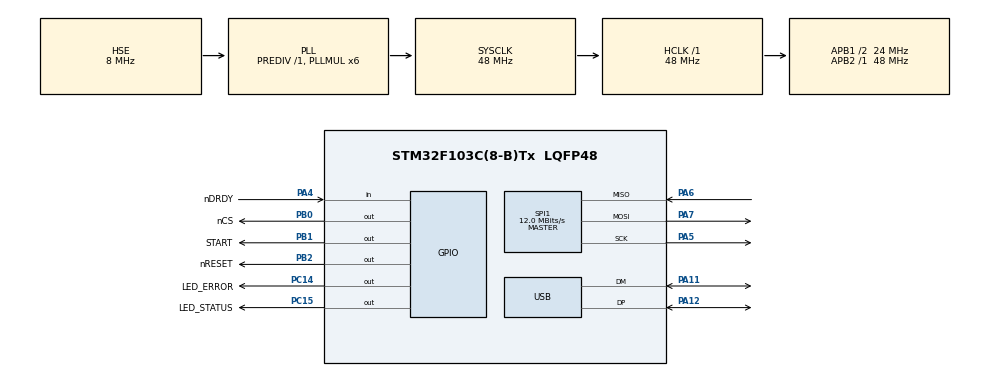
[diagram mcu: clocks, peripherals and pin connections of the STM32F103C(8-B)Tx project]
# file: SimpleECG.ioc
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Mcu.Family=STM32F1
Mcu.Name=STM32F103C(8-B)Tx
Mcu.Package=LQFP48
NVIC.PriorityGroup=NVIC_PRIORITYGROUP_4
NVIC.USB_LP_CAN1_RX0_IRQn=true\:0\:0\:false\:false\:true\:false\:true
PA11.Mode=Device
PA11.Signal=USB_DM
PA12.Mode=Device
PA12.Signal=USB_DP
PA13.Mode=Serial_Wire
PA13.Signal=SYS_JTMS-SWDIO
PA14.Mode=Serial_Wire
PA14.Signal=SYS_JTCK-SWCLK
PA4.GPIO_Label=nDRDY
PA4.Signal=GPIO_Input
PA5.Mode=Full_Duplex_Master
PA5.Signal=SPI1_SCK
PA6.Mode=Full_Duplex_Master
PA6.Signal=SPI1_MISO
PA7.Mode=Full_Duplex_Master
PA7.Signal=SPI1_MOSI
PB0.GPIO_Label=nCS
PB0.Signal=GPIO_Output
PB1.GPIO_Label=START
PB1.Signal=GPIO_Output
PB2.GPIO_Label=nRESET
PB2.Signal=GPIO_Output
PC14-OSC32_IN.GPIO_Label=LED_ERROR
PC14-OSC32_IN.Signal=GPIO_Output
PC15-OSC32_OUT.GPIO_Label=LED_STATUS
PC15-OSC32_OUT.Signal=GPIO_Output
PD0-OSC_IN.Mode=HSE-External-Oscillator
PD0-OSC_IN.Signal=RCC_OSC_IN
PD1-OSC_OUT.Mode=HSE-External-Oscillator
PD1-OSC_OUT.Signal=RCC_OSC_OUT
ProjectManager.HeapSize=0x200
ProjectManager.StackSize=0x400
ProjectManager.TargetToolchain=STM32CubeIDE
RCC.AHBFreq_Value=48000000
RCC.APB1CLKDivider=RCC_HCLK_DIV2
RCC.APB1Freq_Value=24000000
RCC.APB1TimFreq_Value=48000000
RCC.APB2Freq_Value=48000000
RCC.APB2TimFreq_Value=48000000
RCC.HCLKFreq_Value=48000000
RCC.PLLMUL=RCC_PLL_MUL6
RCC.SYSCLKFreq_VALUE=48000000
RCC.SYSCLKSource=RCC_SYSCLKSOURCE_PLLCLK
RCC.USBFreq_Value=48000000
SPI1.BaudRatePrescaler=SPI_BAUDRATEPRESCALER_4
SPI1.CLKPhase=SPI_PHASE_2EDGE
SPI1.CalculateBaudRate=12.0 MBits/s
SPI1.Direction=SPI_DIRECTION_2LINES
SPI1.Mode=SPI_MODE_MASTER
SPI1.VirtualType=VM_MASTER
USB_DEVICE.CLASS_NAME_FS=CDC
USB_DEVICE.VirtualMode=Cdc
USB_DEVICE.VirtualModeFS=Cdc_FS
VP_USB_DEVICE_VS_USB_DEVICE_CDC_FS.Mode=CDC_FS
board=custom

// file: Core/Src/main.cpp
/* USER CODE BEGIN Header */
/**
  ******************************************************************************
  * @file           : main.c
  * @brief          : Main program body
  ******************************************************************************
  * @attention
  *
  * Copyright (c) 2023 STMicroelectronics.
  * All rights reserved.
  *
  * This software is licensed under terms that can be found in the LICENSE file
  * in the root directory of this software component.
  * If no LICENSE file comes with this software, it is provided AS-IS.
  *
  ******************************************************************************
  */
/* USER CODE END Header */
#include "main.h"
#include "usb_device.h"

/* USER CODE BEGIN Includes */

#include "ADS1298.hpp"
#include "usbd_cdc_if.h"
#include <string>

/* USER CODE END Includes */

SPI_HandleTypeDef hspi1;

void SystemClock_Config(void);
static void MX_GPIO_Init(void);
static void MX_SPI1_Init(void);

/* USER CODE BEGIN 0 */

ADS1298 ads1298(&hspi1);

/* USER CODE END 0 */

int main(void)
{

  /* MCU Configuration--------------------------------------------------------*/

  /* Reset of all peripherals, Initializes the Flash interface and the Systick. */
  HAL_Init();

  /* Configure the system clock */
  SystemClock_Config();

  /* Initialize all configured peripherals */
  MX_GPIO_Init();
  MX_USB_DEVICE_Init();
  MX_SPI1_Init();
  /* USER CODE BEGIN 2 */

	HAL_GPIO_WritePin(nRESET_GPIO_Port, nRESET_Pin, GPIO_PIN_SET);

	ads1298.setup();

  /* USER CODE END 2 */

  /* Infinite loop */
  while (1)
  {

    /* USER CODE BEGIN 3 */
//	  uint8_t id = ads1298.readRegister(REG_ADDR_ID);

	  if (HAL_GPIO_ReadPin(nDRDY_GPIO_Port, nDRDY_Pin) == GPIO_PIN_RESET) {
		  int32_t channels[10];
		  channels[8] = 0; // TODO: milliseconds since startup
		  channels[9] = 0xFFFFFFFF; // separator
		  HAL_StatusTypeDef status = ads1298.getChannelData(channels);

		  if (status == HAL_OK) {
			  //const char *buffer = (std::to_string(channels[0]) + "," + std::to_string(channels[1]) + "," + std::to_string(channels[2]) + "," + std::to_string(channels[3]) + "," + std::to_string(channels[4]) + "," + std::to_string(channels[5]) + "," + std::to_string(channels[6]) + "," + std::to_string(channels[7])  + "\r\n").c_str();
			  CDC_Transmit_FS((uint8_t*)channels, 40);
		  } else {
			  const char *buffer = ("HAL status: " + std::to_string(status) + "\r\n").c_str();
			  CDC_Transmit_FS((uint8_t*)buffer, strlen(buffer));
		  }
	  }

//	  const char *buffer = ("The value of id is " + std::to_string(id) + "\r\n").c_str();
//	  CDC_Transmit_FS((uint8_t*)buffer, strlen(buffer));
//	  HAL_Delay(500);

	  //HAL_GPIO_TogglePin(LED_STATUS_GPIO_Port, LED_STATUS_Pin);
//	  HAL_Delay(500);
  }
  /* USER CODE END 3 */
}

void SystemClock_Config(void)
{
  RCC_OscInitTypeDef RCC_OscInitStruct = {0};
  RCC_ClkInitTypeDef RCC_ClkInitStruct = {0};
  RCC_PeriphCLKInitTypeDef PeriphClkInit = {0};

  /** Initializes the RCC Oscillators according to the specified parameters
  * in the RCC_OscInitTypeDef structure.
  */
  RCC_OscInitStruct.OscillatorType = RCC_OSCILLATORTYPE_HSE;
  RCC_OscInitStruct.HSEState = RCC_HSE_ON;
  RCC_OscInitStruct.HSEPredivValue = RCC_HSE_PREDIV_DIV1;
  RCC_OscInitStruct.HSIState = RCC_HSI_ON;
  RCC_OscInitStruct.PLL.PLLState = RCC_PLL_ON;
  RCC_OscInitStruct.PLL.PLLSource = RCC_PLLSOURCE_HSE;
  RCC_OscInitStruct.PLL.PLLMUL = RCC_PLL_MUL6;
  if (HAL_RCC_OscConfig(&RCC_OscInitStruct) != HAL_OK)
  {
    Error_Handler();
  }
  /** Initializes the CPU, AHB and APB buses clocks
  */
  RCC_ClkInitStruct.ClockType = RCC_CLOCKTYPE_HCLK|RCC_CLOCKTYPE_SYSCLK
                              |RCC_CLOCKTYPE_PCLK1|RCC_CLOCKTYPE_PCLK2;
  RCC_ClkInitStruct.SYSCLKSource = RCC_SYSCLKSOURCE_PLLCLK;
  RCC_ClkInitStruct.AHBCLKDivider = RCC_SYSCLK_DIV1;
  RCC_ClkInitStruct.APB1CLKDivider = RCC_HCLK_DIV2;
  RCC_ClkInitStruct.APB2CLKDivider = RCC_HCLK_DIV1;

  if (HAL_RCC_ClockConfig(&RCC_ClkInitStruct, FLASH_LATENCY_1) != HAL_OK)
  {
    Error_Handler();
  }
  PeriphClkInit.PeriphClockSelection = RCC_PERIPHCLK_USB;
  PeriphClkInit.UsbClockSelection = RCC_USBCLKSOURCE_PLL;
  if (HAL_RCCEx_PeriphCLKConfig(&PeriphClkInit) != HAL_OK)
  {
    Error_Handler();
  }
}

static void MX_SPI1_Init(void)
{

  /* SPI1 parameter configuration*/
  hspi1.Instance = SPI1;
  hspi1.Init.Mode = SPI_MODE_MASTER;
  hspi1.Init.Direction = SPI_DIRECTION_2LINES;
  hspi1.Init.DataSize = SPI_DATASIZE_8BIT;
  hspi1.Init.CLKPolarity = SPI_POLARITY_LOW;
  hspi1.Init.CLKPhase = SPI_PHASE_2EDGE;
  hspi1.Init.NSS = SPI_NSS_SOFT;
  hspi1.Init.BaudRatePrescaler = SPI_BAUDRATEPRESCALER_4;
  hspi1.Init.FirstBit = SPI_FIRSTBIT_MSB;
  hspi1.Init.TIMode = SPI_TIMODE_DISABLE;
  hspi1.Init.CRCCalculation = SPI_CRCCALCULATION_DISABLE;
  hspi1.Init.CRCPolynomial = 10;
  if (HAL_SPI_Init(&hspi1) != HAL_OK)
  {
    Error_Handler();
  }

}

static void MX_GPIO_Init(void)
{
  GPIO_InitTypeDef GPIO_InitStruct = {0};

  /* GPIO Ports Clock Enable */
  __HAL_RCC_GPIOC_CLK_ENABLE();
  __HAL_RCC_GPIOD_CLK_ENABLE();
  __HAL_RCC_GPIOA_CLK_ENABLE();
  __HAL_RCC_GPIOB_CLK_ENABLE();

  /*Configure GPIO pin Output Level */
  HAL_GPIO_WritePin(GPIOC, LED_ERROR_Pin|LED_STATUS_Pin, GPIO_PIN_RESET);

  /*Configure GPIO pin Output Level */
  HAL_GPIO_WritePin(GPIOB, nCS_Pin|START_Pin|nRESET_Pin, GPIO_PIN_RESET);

  /*Configure GPIO pins : LED_ERROR_Pin LED_STATUS_Pin */
  GPIO_InitStruct.Pin = LED_ERROR_Pin|LED_STATUS_Pin;
  GPIO_InitStruct.Mode = GPIO_MODE_OUTPUT_PP;
  GPIO_InitStruct.Pull = GPIO_NOPULL;
  GPIO_InitStruct.Speed = GPIO_SPEED_FREQ_LOW;
  HAL_GPIO_Init(GPIOC, &GPIO_InitStruct);

  /*Configure GPIO pin : nDRDY_Pin */
  GPIO_InitStruct.Pin = nDRDY_Pin;
  GPIO_InitStruct.Mode = GPIO_MODE_INPUT;
  GPIO_InitStruct.Pull = GPIO_NOPULL;
  HAL_GPIO_Init(nDRDY_GPIO_Port, &GPIO_InitStruct);

  /*Configure GPIO pins : nCS_Pin START_Pin nRESET_Pin */
  GPIO_InitStruct.Pin = nCS_Pin|START_Pin|nRESET_Pin;
  GPIO_InitStruct.Mode = GPIO_MODE_OUTPUT_PP;
  GPIO_InitStruct.Pull = GPIO_NOPULL;
  GPIO_InitStruct.Speed = GPIO_SPEED_FREQ_LOW;
  HAL_GPIO_Init(GPIOB, &GPIO_InitStruct);

}

void Error_Handler(void)
{
  __disable_irq();
  while (1)
  {
  }
}
